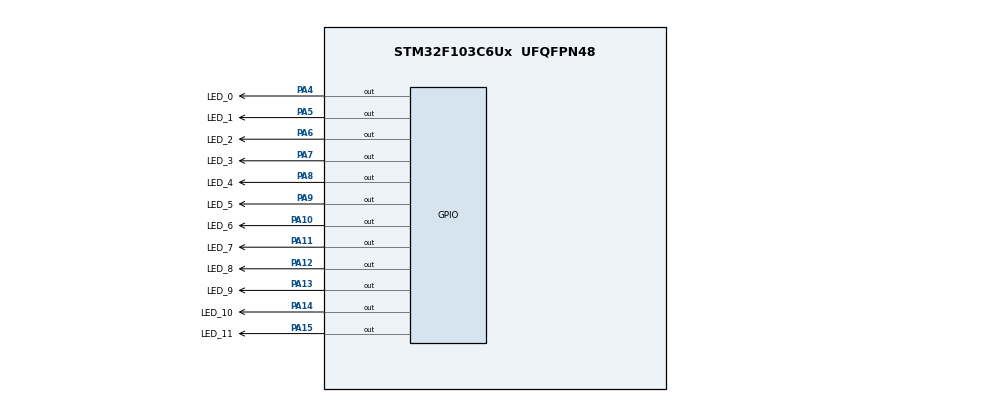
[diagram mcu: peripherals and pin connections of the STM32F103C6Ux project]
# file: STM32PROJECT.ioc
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Mcu.Family=STM32F1
Mcu.Name=STM32F103C6Ux
Mcu.Package=UFQFPN48
NVIC.PriorityGroup=NVIC_PRIORITYGROUP_4
PA10.GPIO_Label=LED_6
PA10.Signal=GPIO_Output
PA11.GPIO_Label=LED_7
PA11.Signal=GPIO_Output
PA12.GPIO_Label=LED_8
PA12.Signal=GPIO_Output
PA13.GPIO_Label=LED_9
PA13.Signal=GPIO_Output
PA14.GPIO_Label=LED_10
PA14.Signal=GPIO_Output
PA15.GPIO_Label=LED_11
PA15.Signal=GPIO_Output
PA4.GPIO_Label=LED_0
PA4.Signal=GPIO_Output
PA5.GPIO_Label=LED_1
PA5.Signal=GPIO_Output
PA6.GPIO_Label=LED_2
PA6.Signal=GPIO_Output
PA7.GPIO_Label=LED_3
PA7.Signal=GPIO_Output
PA8.GPIO_Label=LED_4
PA8.Signal=GPIO_Output
PA9.GPIO_Label=LED_5
PA9.Signal=GPIO_Output
ProjectManager.HeapSize=0x200
ProjectManager.StackSize=0x400
ProjectManager.TargetToolchain=STM32CubeIDE
RCC.APB1Freq_Value=8000000
RCC.APB2Freq_Value=8000000
VP_SYS_VS_ND.Mode=No_Debug
board=custom

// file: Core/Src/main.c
/* USER CODE BEGIN Header */
/**
  ******************************************************************************
  * @file           : main.c
  * @brief          : Main program body
  ******************************************************************************
  * @attention
  *
  * <h2><center>&copy; Copyright (c) 2023 STMicroelectronics.
  * All rights reserved.</center></h2>
  *
  * This software component is licensed by ST under BSD 3-Clause license,
  * the "License"; You may not use this file except in compliance with the
  * License. You may obtain a copy of the License at:
  *                        opensource.org/licenses/BSD-3-Clause
  *
  ******************************************************************************
  */
/* USER CODE END Header */
#include "main.h"

void SystemClock_Config(void);
static void MX_GPIO_Init(void);

int main(void)
{

  /* MCU Configuration--------------------------------------------------------*/

  /* Reset of all peripherals, Initializes the Flash interface and the Systick. */
  HAL_Init();

  /* Configure the system clock */
  SystemClock_Config();

  /* Initialize all configured peripherals */
  MX_GPIO_Init();

  /* Infinite loop */
  /* USER CODE BEGIN WHILE */
  int h=1,m=14,s=0;
  clearAllClock();
    while (1)
    {
    	if(s >= 60){
    		s=0;
    		m++;
    	}
    	if(m >= 60){
    		m=0;
    		h++;
    	}
    	if(h >= 12){
    		h%=12;
    	}
    	clearAllClock();
    	setNumberOnClock(h);
    	setNumberOnClock((int)(m/5));
    	setNumberOnClock((int)(s/5));
    	s++;
    	HAL_Delay(1000);
    /* USER CODE END WHILE */

  }
}

void SystemClock_Config(void)
{
  RCC_OscInitTypeDef RCC_OscInitStruct = {0};
  RCC_ClkInitTypeDef RCC_ClkInitStruct = {0};

  /** Initializes the RCC Oscillators according to the specified parameters
  * in the RCC_OscInitTypeDef structure.
  */
  RCC_OscInitStruct.OscillatorType = RCC_OSCILLATORTYPE_HSI;
  RCC_OscInitStruct.HSIState = RCC_HSI_ON;
  RCC_OscInitStruct.HSICalibrationValue = RCC_HSICALIBRATION_DEFAULT;
  RCC_OscInitStruct.PLL.PLLState = RCC_PLL_NONE;
  if (HAL_RCC_OscConfig(&RCC_OscInitStruct) != HAL_OK)
  {
    Error_Handler();
  }
  /** Initializes the CPU, AHB and APB buses clocks
  */
  RCC_ClkInitStruct.ClockType = RCC_CLOCKTYPE_HCLK|RCC_CLOCKTYPE_SYSCLK
                              |RCC_CLOCKTYPE_PCLK1|RCC_CLOCKTYPE_PCLK2;
  RCC_ClkInitStruct.SYSCLKSource = RCC_SYSCLKSOURCE_HSI;
  RCC_ClkInitStruct.AHBCLKDivider = RCC_SYSCLK_DIV1;
  RCC_ClkInitStruct.APB1CLKDivider = RCC_HCLK_DIV1;
  RCC_ClkInitStruct.APB2CLKDivider = RCC_HCLK_DIV1;

  if (HAL_RCC_ClockConfig(&RCC_ClkInitStruct, FLASH_LATENCY_0) != HAL_OK)
  {
    Error_Handler();
  }
}

static void MX_GPIO_Init(void)
{
  GPIO_InitTypeDef GPIO_InitStruct = {0};

  /* GPIO Ports Clock Enable */
  __HAL_RCC_GPIOA_CLK_ENABLE();

  /*Configure GPIO pin Output Level */
  HAL_GPIO_WritePin(GPIOA, LED_0_Pin|LED_1_Pin|LED_2_Pin|LED_3_Pin
                          |LED_4_Pin|LED_5_Pin|LED_6_Pin|LED_7_Pin
                          |LED_8_Pin|LED_9_Pin|LED_10_Pin|LED_11_Pin, GPIO_PIN_RESET);

  /*Configure GPIO pins : LED_0_Pin LED_1_Pin LED_2_Pin LED_3_Pin
                           LED_4_Pin LED_5_Pin LED_6_Pin LED_7_Pin
                           LED_8_Pin LED_9_Pin LED_10_Pin LED_11_Pin */
  GPIO_InitStruct.Pin = LED_0_Pin|LED_1_Pin|LED_2_Pin|LED_3_Pin
                          |LED_4_Pin|LED_5_Pin|LED_6_Pin|LED_7_Pin
                          |LED_8_Pin|LED_9_Pin|LED_10_Pin|LED_11_Pin;
  GPIO_InitStruct.Mode = GPIO_MODE_OUTPUT_PP;
  GPIO_InitStruct.Pull = GPIO_NOPULL;
  GPIO_InitStruct.Speed = GPIO_SPEED_FREQ_LOW;
  HAL_GPIO_Init(GPIOA, &GPIO_InitStruct);

}

void Error_Handler(void)
{
  __disable_irq();
  while (1)
  {
  }
}

/************************ (C) COPYRIGHT STMicroelectronics *****END OF FILE****/
